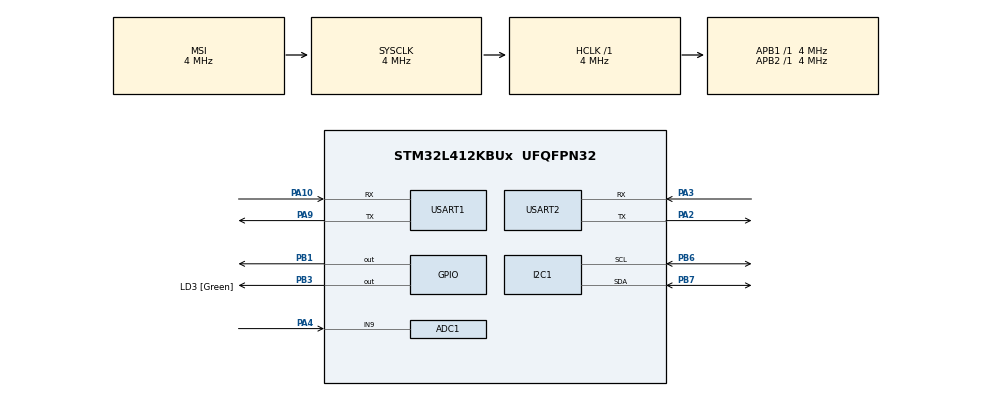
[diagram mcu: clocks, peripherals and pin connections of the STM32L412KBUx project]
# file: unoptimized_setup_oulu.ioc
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ADC1.Channel-0\#ChannelRegularConversion=ADC_CHANNEL_9
ADC1.NbrOfConversionFlag=1
ADC1.OffsetNumber-0\#ChannelRegularConversion=ADC_OFFSET_NONE
ADC1.Rank-0\#ChannelRegularConversion=1
ADC1.SamplingTime-0\#ChannelRegularConversion=ADC_SAMPLETIME_2CYCLES_5
ADC1.master=1
I2C1.Timing=0x00100D14
Mcu.Family=STM32L4
Mcu.Name=STM32L412KBUx
Mcu.Package=UFQFPN32
NVIC.PriorityGroup=NVIC_PRIORITYGROUP_4
PA0-CK_IN.Mode=HSE-External-Clock-Source-for-LittleOrca
PA0-CK_IN.Signal=RCC_CK_IN
PA10.Mode=Asynchronous
PA10.Signal=USART1_RX
PA13\ (JTMS/SWDIO).GPIO_Label=SWDIO
PA13\ (JTMS/SWDIO).Mode=Serial_Wire
PA13\ (JTMS/SWDIO).Signal=SYS_JTMS-SWDIO
PA14\ (JTCK/SWCLK).GPIO_Label=SWCLK
PA14\ (JTCK/SWCLK).Mode=Serial_Wire
PA14\ (JTCK/SWCLK).Signal=SYS_JTCK-SWCLK
PA2.Mode=Asynchronous
PA2.Signal=USART2_TX
PA3.Mode=Asynchronous
PA3.Signal=USART2_RX
PA4.Signal=ADCx_IN9
PA9.Mode=Asynchronous
PA9.Signal=USART1_TX
PB1.Signal=GPIO_Output
PB3\ (JTDO/TRACESWO).GPIO_Label=LD3 [Green]
PB3\ (JTDO/TRACESWO).Signal=GPIO_Output
PB6.Mode=I2C
PB6.Signal=I2C1_SCL
PB7.Mode=I2C
PB7.Signal=I2C1_SDA
PC14-OSC32_IN\ (PC14).Mode=LSE-External-Oscillator
PC14-OSC32_IN\ (PC14).Signal=RCC_OSC32_IN
PC15-OSC32_OUT\ (PC15).Mode=LSE-External-Oscillator
PC15-OSC32_OUT\ (PC15).Signal=RCC_OSC32_OUT
ProjectManager.HeapSize=0x200
ProjectManager.StackSize=0x400
ProjectManager.TargetToolchain=STM32CubeIDE
RCC.ADCFreq_Value=4000000
RCC.AHBFreq_Value=4000000
RCC.APB1Freq_Value=4000000
RCC.APB1TimFreq_Value=4000000
RCC.APB2Freq_Value=4000000
RCC.APB2TimFreq_Value=4000000
RCC.CortexFreq_Value=4000000
RCC.FLatency=FLASH_LATENCY_0
RCC.HCLKFreq_Value=4000000
RCC.HSE_VALUE=8000000
RCC.HSI48_VALUE=48000000
RCC.HSICalibrationValue=64
RCC.HSI_VALUE=16000000
RCC.LSE_Drive_Capability=RCC_LSEDRIVE_LOW
RCC.MSI_VALUE=4000000
RCC.SYSCLKFreq_VALUE=4000000
RCC.USBFreq_Value=4000000
RCC.VCOOutputFreq_Value=32000000
SH.ADCx_IN9.0=ADC1_IN9,IN9-Single-Ended
USART1.VirtualMode-Asynchronous=VM_ASYNC
USART2.VirtualMode-Asynchronous=VM_ASYNC
board=NUCLEO-L412KB

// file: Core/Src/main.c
/* USER CODE BEGIN Header */
/**
  ******************************************************************************
  * @file           : main.c
  * @brief          : Main program body
  ******************************************************************************
  * @attention
  *
  * Copyright (c) 2026 STMicroelectronics.
  * All rights reserved.
  *
  * This software is licensed under terms that can be found in the LICENSE file
  * in the root directory of this software component.
  * If no LICENSE file comes with this software, it is provided AS-IS.
  *
  ******************************************************************************
  */
/* USER CODE END Header */
#include "main.h"

ADC_HandleTypeDef hadc1;

I2C_HandleTypeDef hi2c1;

UART_HandleTypeDef huart1;
UART_HandleTypeDef huart2;

/* USER CODE BEGIN PV */
//#define SHT40_ADDR (0x44 << 1) // SHT40 7-bit I2C address shifted left
//uint8_t sht40_cmd = 0xFD;      // High precision read command
//uint8_t sht40_rx[6];           // Buffer for Temp (2B) + CRC (1B) + Hum (2B) + CRC (1B)

/* USER CODE BEGIN PV */
#define SHT31_ADDR (0x44 << 1) // SHT31 7-bit I2C address shifted left
uint8_t sht31_cmd[2] = {0x24, 0x00}; // SHT31 High precision read, clock stretching disabled
uint8_t sht31_rx[6];           // Buffer for Temp (2B) + CRC (1B) + Hum (2B) + CRC (1B)

uint16_t adc_raw_val = 0;
float temperature = 0.0;
float humidity = 0.0;
char tx_buffer[100];
/* USER CODE END PV */

void SystemClock_Config(void);
static void MX_GPIO_Init(void);
static void MX_ADC1_Init(void);
static void MX_I2C1_Init(void);
static void MX_USART1_UART_Init(void);
static void MX_USART2_UART_Init(void);

/* USER CODE BEGIN 0 */
#include <stdio.h>
#include <string.h>

#define MOISTURE_VCC_Pin GPIO_PIN_1
#define MOISTURE_VCC_Port GPIOB
#define BLE_EN_Pin GPIO_PIN_4

// Redirect printf to USART2 (Debug/PC/CoolTerm)
int __io_putchar(int ch) {
    HAL_UART_Transmit(&huart2, (uint8_t *)&ch, 1, HAL_MAX_DELAY);
    return ch;
}

//void Read_Sensors(void) {
//    // Clear buffer
//    for(int i=0; i<6; i++) sht40_rx[i] = 0;
//
//    // 1. Read SHT40
//    HAL_StatusTypeDef status = HAL_I2C_Master_Transmit(&hi2c1, SHT40_ADDR, &sht40_cmd, 1, 100);
//    if (status != HAL_OK) {
//        printf("[DEBUG] I2C Transmit Error Code: %d\r\n", status);
//    }
//
//    HAL_Delay(15);
//
//    status = HAL_I2C_Master_Receive(&hi2c1, SHT40_ADDR, sht40_rx, 6, 100);
//    if (status != HAL_OK) {
//        printf("[DEBUG] I2C Receive Error Code: %d\r\n", status);
//    } else {
//        // Print raw hex data to the console
//        printf("[DEBUG] Raw Bytes: %02X %02X %02X %02X %02X %02X\r\n",
//               sht40_rx[0], sht40_rx[1], sht40_rx[2], sht40_rx[3], sht40_rx[4], sht40_rx[5]);
//    }
//
//    // Convert Raw SHT40 Data
//    uint16_t t_ticks = (sht40_rx[0] << 8) | sht40_rx[1];
//    uint16_t rh_ticks = (sht40_rx[3] << 8) | sht40_rx[4];
//    temperature = -45.0f + 175.0f * ((float)t_ticks / 65535.0f);
//    humidity = -6.0f + 125.0f * ((float)rh_ticks / 65535.0f);
//
//    // 2. Power up & Read Analog Soil Moisture
//    // Power up the sensor using the correct Port (GPIOB)
//    HAL_GPIO_WritePin(MOISTURE_VCC_Port, MOISTURE_VCC_Pin, GPIO_PIN_SET);
//    HAL_Delay(10); // Allow sensor voltage to stabilize
//
//    HAL_ADC_Start(&hadc1);
//    if (HAL_ADC_PollForConversion(&hadc1, 10) == HAL_OK) {
//        adc_raw_val = HAL_ADC_GetValue(&hadc1);
//    }
//    HAL_ADC_Stop(&hadc1);
//
//    HAL_GPIO_WritePin(GPIOA, MOISTURE_VCC_Pin, GPIO_PIN_RESET); // Power down sensor to prevent electrolysis
//}

void Read_Sensors(void) {
    // Clear buffer
    for(int i=0; i<6; i++) sht31_rx[i] = 0;

    // 1. Read SHT31 (Note the size changed to 2 bytes)
    HAL_StatusTypeDef status = HAL_I2C_Master_Transmit(&hi2c1, SHT31_ADDR, sht31_cmd, 2, 100);
    if (status != HAL_OK) {
        printf("[DEBUG] I2C Transmit Error Code: %d\r\n", status);
    }

    HAL_Delay(15); // SHT31 high repeatability takes up to ~15ms

    status = HAL_I2C_Master_Receive(&hi2c1, SHT31_ADDR, sht31_rx, 6, 100);
    if (status != HAL_OK) {
        printf("[DEBUG] I2C Receive Error Code: %d\r\n", status);
    } else {
        // Print raw hex data to the console
        printf("[DEBUG] Raw Bytes: %02X %02X %02X %02X %02X %02X\r\n",
               sht31_rx[0], sht31_rx[1], sht31_rx[2], sht31_rx[3], sht31_rx[4], sht31_rx[5]);
    }

    // Convert Raw SHT31 Data (The formula is identical to the SHT40)
    uint16_t t_ticks = (sht31_rx[0] << 8) | sht31_rx[1];
    uint16_t rh_ticks = (sht31_rx[3] << 8) | sht31_rx[4];
    temperature = -45.0f + 175.0f * ((float)t_ticks / 65535.0f);
    humidity = 100.0f * ((float)rh_ticks / 65535.0f); // Note: SHT31 humidity math is slightly different from SHT40

    // 2. Power up & Read Analog Soil Moisture
    // ... (Keep the rest of your moisture sensor code exactly the same)
    HAL_GPIO_WritePin(MOISTURE_VCC_Port, MOISTURE_VCC_Pin, GPIO_PIN_SET);
    HAL_Delay(10);

    HAL_ADC_Start(&hadc1);
    if (HAL_ADC_PollForConversion(&hadc1, 10) == HAL_OK) {
        adc_raw_val = HAL_ADC_GetValue(&hadc1);
    }
    HAL_ADC_Stop(&hadc1);

    HAL_GPIO_WritePin(GPIOA, MOISTURE_VCC_Pin, GPIO_PIN_RESET);
}

void Transmit_Data(void) {
    // 1. Prepare payload
    char tx_buffer[32];
    int len = sprintf(tx_buffer, "%.1f,%.1f,%d", temperature, humidity, adc_raw_val);

    // 2. Wrap in Envelope
    uint8_t stx = 0x02; // Start of Text
    uint8_t etx = 0x03; // End of Text

    // 3. Send
    // Disable interrupts to ensure the UART transmission is not
    // interrupted by other system tasks during the critical send window
    __disable_irq();

    HAL_UART_Transmit(&huart1, &stx, 1, 100);
    HAL_UART_Transmit(&huart1, (uint8_t*)tx_buffer, len, 100);
    HAL_UART_Transmit(&huart1, &etx, 1, 100);

    __enable_irq();
}
/* USER CODE END 0 */

int main(void)
{

  /* MCU Configuration--------------------------------------------------------*/

  /* Reset of all peripherals, Initializes the Flash interface and the Systick. */
  HAL_Init();

  /* Configure the system clock */
  SystemClock_Config();

  /* Initialize all configured peripherals */
  MX_GPIO_Init();
  MX_ADC1_Init();
  MX_I2C1_Init();
  MX_USART1_UART_Init();
  MX_USART2_UART_Init();

  /* Infinite loop */
  /* USER CODE BEGIN WHILE */
  printf("\r\n=== System Booted successfully ===\r\n");

    while (1)
    {
        printf("[System] Starting sensor read step...\r\n");

        // 1. Read SHT40 and Moisture Sensor
        Read_Sensors();
        if (temperature == 0.0 && humidity == 0.0) {
            printf("[DEBUG] Sensor returned zero. Check I2C Wiring!\r\n");
        }

        printf("[System] Data read: T:%.1f, H:%.1f, S:%d\r\n", temperature, humidity, adc_raw_val);
        printf("[System] Transmitting via UART1 to BLE...\r\n");

        // HAL_Delay(2000);

        // 2. Transmit to Xiao BLE via USART1
        Transmit_Data();
        //
        // HAL_Delay(2000);
        //
        // printf("[System] Transmission complete. Sleeping for 5s...\r\n");

        HAL_Delay(5000);
    /* USER CODE END WHILE */

  }
}

void SystemClock_Config(void)
{
  RCC_OscInitTypeDef RCC_OscInitStruct = {0};
  RCC_ClkInitTypeDef RCC_ClkInitStruct = {0};

  /** Configure the main internal regulator output voltage
  */
  if (HAL_PWREx_ControlVoltageScaling(PWR_REGULATOR_VOLTAGE_SCALE1) != HAL_OK)
  {
    Error_Handler();
  }

  /** Configure LSE Drive Capability
  */
  HAL_PWR_EnableBkUpAccess();
  __HAL_RCC_LSEDRIVE_CONFIG(RCC_LSEDRIVE_LOW);

  /** Initializes the RCC Oscillators according to the specified parameters
  * in the RCC_OscInitTypeDef structure.
  */
  RCC_OscInitStruct.OscillatorType = RCC_OSCILLATORTYPE_LSE|RCC_OSCILLATORTYPE_MSI;
  RCC_OscInitStruct.LSEState = RCC_LSE_ON;
  RCC_OscInitStruct.MSIState = RCC_MSI_ON;
  RCC_OscInitStruct.MSICalibrationValue = 0;
  RCC_OscInitStruct.MSIClockRange = RCC_MSIRANGE_6;
  RCC_OscInitStruct.PLL.PLLState = RCC_PLL_NONE;
  if (HAL_RCC_OscConfig(&RCC_OscInitStruct) != HAL_OK)
  {
    Error_Handler();
  }

  /** Initializes the CPU, AHB and APB buses clocks
  */
  RCC_ClkInitStruct.ClockType = RCC_CLOCKTYPE_HCLK|RCC_CLOCKTYPE_SYSCLK
                              |RCC_CLOCKTYPE_PCLK1|RCC_CLOCKTYPE_PCLK2;
  RCC_ClkInitStruct.SYSCLKSource = RCC_SYSCLKSOURCE_MSI;
  RCC_ClkInitStruct.AHBCLKDivider = RCC_SYSCLK_DIV1;
  RCC_ClkInitStruct.APB1CLKDivider = RCC_HCLK_DIV1;
  RCC_ClkInitStruct.APB2CLKDivider = RCC_HCLK_DIV1;

  if (HAL_RCC_ClockConfig(&RCC_ClkInitStruct, FLASH_LATENCY_0) != HAL_OK)
  {
    Error_Handler();
  }

  /** Enable MSI Auto calibration
  */
  HAL_RCCEx_EnableMSIPLLMode();
}

static void MX_ADC1_Init(void)
{

  ADC_MultiModeTypeDef multimode = {0};
  ADC_ChannelConfTypeDef sConfig = {0};

  /** Common config
  */
  hadc1.Instance = ADC1;
  hadc1.Init.ClockPrescaler = ADC_CLOCK_ASYNC_DIV1;
  hadc1.Init.Resolution = ADC_RESOLUTION_12B;
  hadc1.Init.DataAlign = ADC_DATAALIGN_RIGHT;
  hadc1.Init.ScanConvMode = ADC_SCAN_DISABLE;
  hadc1.Init.EOCSelection = ADC_EOC_SINGLE_CONV;
  hadc1.Init.LowPowerAutoWait = DISABLE;
  hadc1.Init.ContinuousConvMode = DISABLE;
  hadc1.Init.NbrOfConversion = 1;
  hadc1.Init.DiscontinuousConvMode = DISABLE;
  hadc1.Init.ExternalTrigConv = ADC_SOFTWARE_START;
  hadc1.Init.ExternalTrigConvEdge = ADC_EXTERNALTRIGCONVEDGE_NONE;
  hadc1.Init.DMAContinuousRequests = DISABLE;
  hadc1.Init.Overrun = ADC_OVR_DATA_PRESERVED;
  hadc1.Init.OversamplingMode = DISABLE;
  if (HAL_ADC_Init(&hadc1) != HAL_OK)
  {
    Error_Handler();
  }

  /** Configure the ADC multi-mode
  */
  multimode.Mode = ADC_MODE_INDEPENDENT;
  if (HAL_ADCEx_MultiModeConfigChannel(&hadc1, &multimode) != HAL_OK)
  {
    Error_Handler();
  }

  /** Configure Regular Channel
  */
  sConfig.Channel = ADC_CHANNEL_9;
  sConfig.Rank = ADC_REGULAR_RANK_1;
  sConfig.SamplingTime = ADC_SAMPLETIME_2CYCLES_5;
  sConfig.SingleDiff = ADC_SINGLE_ENDED;
  sConfig.OffsetNumber = ADC_OFFSET_NONE;
  sConfig.Offset = 0;
  if (HAL_ADC_ConfigChannel(&hadc1, &sConfig) != HAL_OK)
  {
    Error_Handler();
  }

}

static void MX_I2C1_Init(void)
{

  hi2c1.Instance = I2C1;
  hi2c1.Init.Timing = 0x00100D14;
  hi2c1.Init.OwnAddress1 = 0;
  hi2c1.Init.AddressingMode = I2C_ADDRESSINGMODE_7BIT;
  hi2c1.Init.DualAddressMode = I2C_DUALADDRESS_DISABLE;
  hi2c1.Init.OwnAddress2 = 0;
  hi2c1.Init.OwnAddress2Masks = I2C_OA2_NOMASK;
  hi2c1.Init.GeneralCallMode = I2C_GENERALCALL_DISABLE;
  hi2c1.Init.NoStretchMode = I2C_NOSTRETCH_DISABLE;
  if (HAL_I2C_Init(&hi2c1) != HAL_OK)
  {
    Error_Handler();
  }

  /** Configure Analogue filter
  */
  if (HAL_I2CEx_ConfigAnalogFilter(&hi2c1, I2C_ANALOGFILTER_ENABLE) != HAL_OK)
  {
    Error_Handler();
  }

  /** Configure Digital filter
  */
  if (HAL_I2CEx_ConfigDigitalFilter(&hi2c1, 0) != HAL_OK)
  {
    Error_Handler();
  }

}

static void MX_USART1_UART_Init(void)
{

  huart1.Instance = USART1;
  huart1.Init.BaudRate = 115200;
  huart1.Init.WordLength = UART_WORDLENGTH_8B;
  huart1.Init.StopBits = UART_STOPBITS_1;
  huart1.Init.Parity = UART_PARITY_NONE;
  huart1.Init.Mode = UART_MODE_TX_RX;
  huart1.Init.HwFlowCtl = UART_HWCONTROL_NONE;
  huart1.Init.OverSampling = UART_OVERSAMPLING_16;
  huart1.Init.OneBitSampling = UART_ONE_BIT_SAMPLE_DISABLE;
  huart1.AdvancedInit.AdvFeatureInit = UART_ADVFEATURE_NO_INIT;
  if (HAL_UART_Init(&huart1) != HAL_OK)
  {
    Error_Handler();
  }

}

static void MX_USART2_UART_Init(void)
{

  huart2.Instance = USART2;
  huart2.Init.BaudRate = 115200;
  huart2.Init.WordLength = UART_WORDLENGTH_8B;
  huart2.Init.StopBits = UART_STOPBITS_1;
  huart2.Init.Parity = UART_PARITY_NONE;
  huart2.Init.Mode = UART_MODE_TX_RX;
  huart2.Init.HwFlowCtl = UART_HWCONTROL_NONE;
  huart2.Init.OverSampling = UART_OVERSAMPLING_16;
  huart2.Init.OneBitSampling = UART_ONE_BIT_SAMPLE_DISABLE;
  huart2.AdvancedInit.AdvFeatureInit = UART_ADVFEATURE_NO_INIT;
  if (HAL_UART_Init(&huart2) != HAL_OK)
  {
    Error_Handler();
  }

}

static void MX_GPIO_Init(void)
{
  GPIO_InitTypeDef GPIO_InitStruct = {0};

  /* GPIO Ports Clock Enable */
  __HAL_RCC_GPIOC_CLK_ENABLE();
  __HAL_RCC_GPIOA_CLK_ENABLE();
  __HAL_RCC_GPIOB_CLK_ENABLE();

  /*Configure GPIO pin Output Level */
  HAL_GPIO_WritePin(GPIOB, GPIO_PIN_1|LD3_Pin, GPIO_PIN_RESET);

  /*Configure GPIO pins : PB1 LD3_Pin */
  GPIO_InitStruct.Pin = GPIO_PIN_1|LD3_Pin;
  GPIO_InitStruct.Mode = GPIO_MODE_OUTPUT_PP;
  GPIO_InitStruct.Pull = GPIO_NOPULL;
  GPIO_InitStruct.Speed = GPIO_SPEED_FREQ_LOW;
  HAL_GPIO_Init(GPIOB, &GPIO_InitStruct);

}

void Error_Handler(void)
{
  __disable_irq();
  while (1)
  {
  }
}
